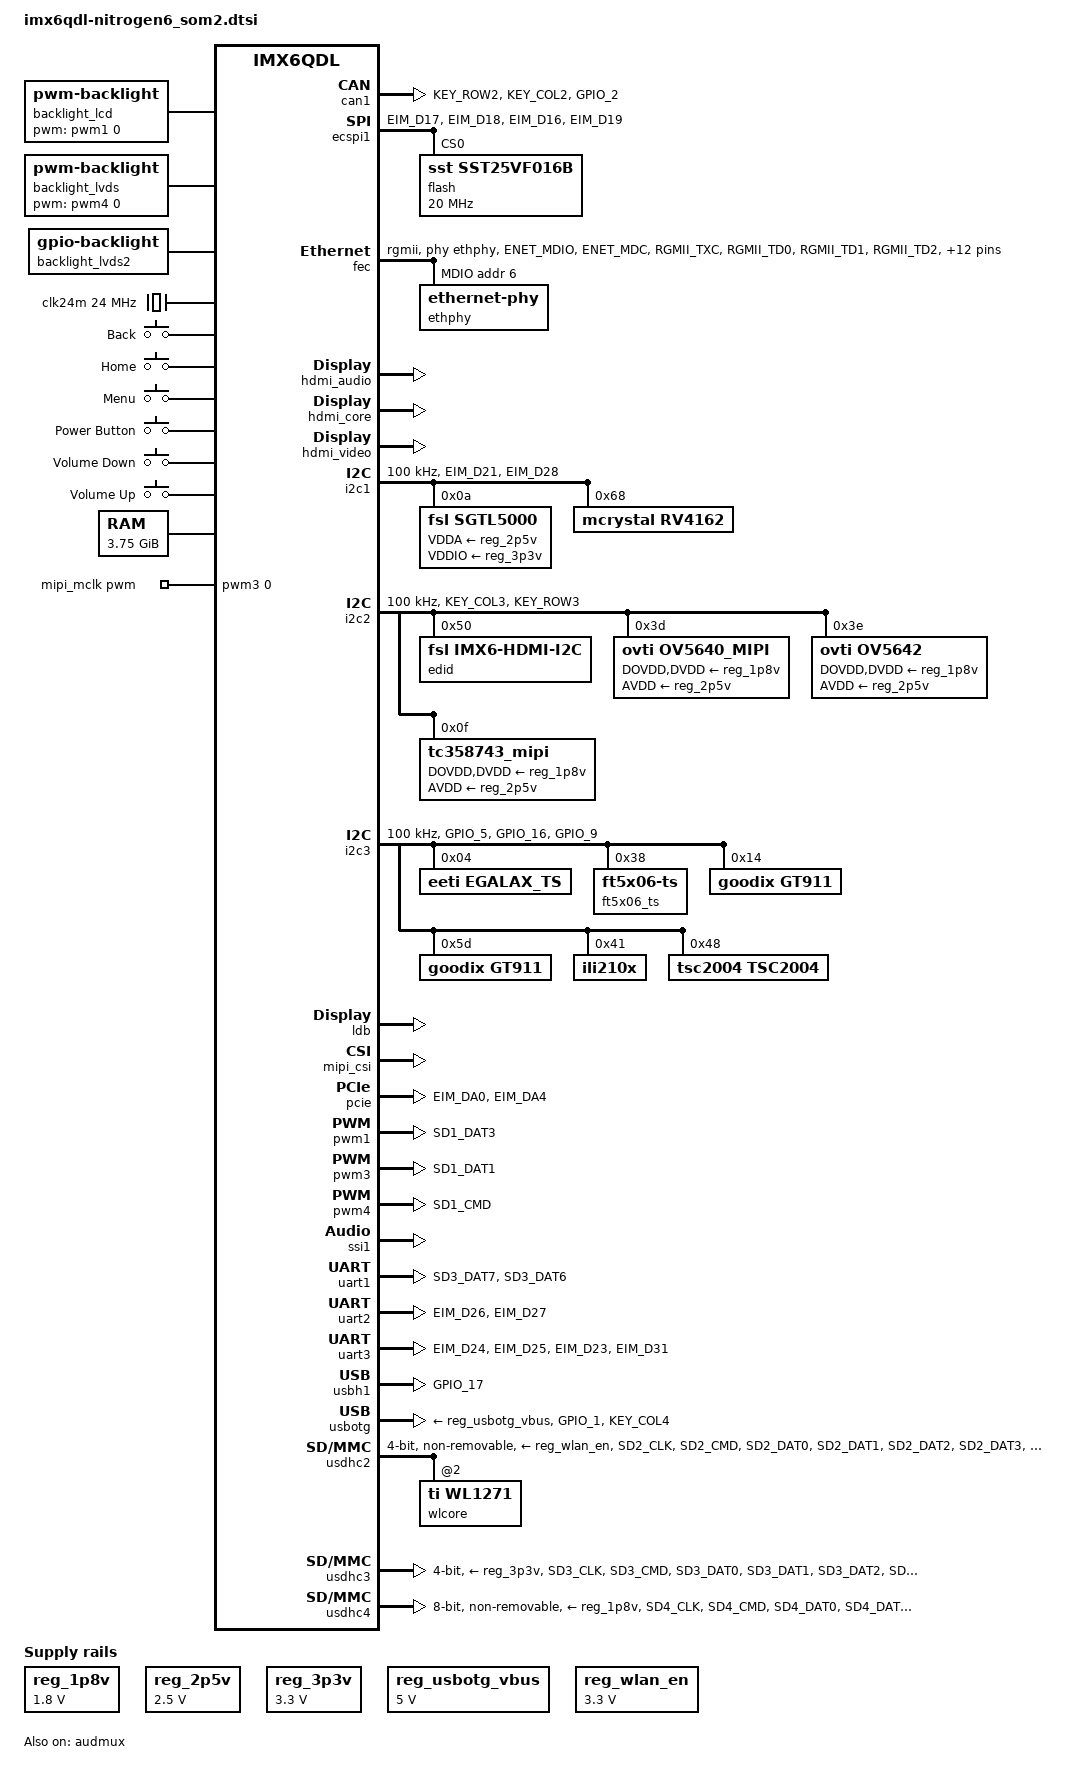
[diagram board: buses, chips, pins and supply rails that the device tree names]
/*
 * Copyright 2015 Boundary Devices, Inc.
 * Copyright 2012 Freescale Semiconductor, Inc.
 * Copyright 2011 Linaro Ltd.
 *
 * The code contained herein is licensed under the GNU General Public
 * License. You may obtain a copy of the GNU General Public License
 * Version 2 or later at the following locations:
 *
 * http://www.opensource.org/licenses/gpl-license.html
 * http://www.gnu.org/copyleft/gpl.html
 */
#include <dt-bindings/gpio/gpio.h>
#include <dt-bindings/input/input.h>

&iomuxc {
	pinctrl-names = "default";
	pinctrl-0 = <&pinctrl_hog>;

	iomuxc_imx6q_nitrogen6_som2: iomuxc-imx6q-nitrogen6-som2grp {
		status = "okay";
	};
};

&iomuxc_imx6q_nitrogen6_som2 {
	pinctrl_audmux: audmuxgrp {
		fsl,pins = <
			MX6QDL_PAD_CSI0_DAT7__AUD3_RXD		0x130b0
			MX6QDL_PAD_CSI0_DAT4__AUD3_TXC		0x130b0
			MX6QDL_PAD_CSI0_DAT5__AUD3_TXD		0x110b0
			MX6QDL_PAD_CSI0_DAT6__AUD3_TXFS		0x130b0
		>;
	};

	pinctrl_backlight_lvds2: backlight-lvds2grp {
		fsl,pins = <
#define GP_BACKLIGHT_LVDS2	<&gpio2 31 GPIO_ACTIVE_HIGH>
			MX6QDL_PAD_EIM_EB3__GPIO2_IO31		0x0b0b0
		>;
	};

	pinctrl_bt_rfkill: bt-rfkillgrp {
		fsl,pins = <
#define GP_BT_RFKILL_RESET	<&gpio6 16 GPIO_ACTIVE_LOW>
			MX6QDL_PAD_NANDF_CS3__GPIO6_IO16	0x030b0
		>;
	};

	pinctrl_ecspi1: ecspi1grp {
		fsl,pins = <
			MX6QDL_PAD_EIM_D17__ECSPI1_MISO		0x100b1
			MX6QDL_PAD_EIM_D18__ECSPI1_MOSI		0x100b1
			MX6QDL_PAD_EIM_D16__ECSPI1_SCLK		0x000b1
#define GP_ECSPI1_NOR_CS	<&gpio3 19 GPIO_ACTIVE_LOW>
			MX6QDL_PAD_EIM_D19__GPIO3_IO19		0x0b0b1
		>;
	};

	pinctrl_enet: enetgrp {
		fsl,pins = <
			MX6QDL_PAD_ENET_MDIO__ENET_MDIO		0x1b0b0
			MX6QDL_PAD_ENET_MDC__ENET_MDC		0x1b0b0
			MX6QDL_PAD_RGMII_TXC__RGMII_TXC		0x100b0
			MX6QDL_PAD_RGMII_TD0__RGMII_TD0		0x100b0
			MX6QDL_PAD_RGMII_TD1__RGMII_TD1		0x100b0
			MX6QDL_PAD_RGMII_TD2__RGMII_TD2		0x100b0
			MX6QDL_PAD_RGMII_TD3__RGMII_TD3		0x100b0
			MX6QDL_PAD_RGMII_TX_CTL__RGMII_TX_CTL	0x100b0
			MX6QDL_PAD_ENET_REF_CLK__ENET_TX_CLK	0x100b0
			MX6QDL_PAD_RGMII_RXC__RGMII_RXC		0x1b0b0
			MX6QDL_PAD_RGMII_RD0__RGMII_RD0		0x1b0b0
			MX6QDL_PAD_RGMII_RD1__RGMII_RD1		0x1b0b0
			MX6QDL_PAD_RGMII_RD2__RGMII_RD2		0x1b0b0
			MX6QDL_PAD_RGMII_RD3__RGMII_RD3		0x1b0b0
			MX6QDL_PAD_RGMII_RX_CTL__RGMII_RX_CTL	0x1b0b0
#define GP_ENET_PHY_RESET	<&gpio1 27 GPIO_ACTIVE_LOW>
			MX6QDL_PAD_ENET_RXD0__GPIO1_IO27	0x030b0
#define GPIRQ_ENET_PHY		<&gpio1 28 IRQ_TYPE_LEVEL_LOW>
			MX6QDL_PAD_ENET_TX_EN__GPIO1_IO28	0x1b0b0
#define GPIRQ_ENET		<&gpio1 6 IRQ_TYPE_LEVEL_HIGH>
			MX6QDL_PAD_GPIO_6__ENET_IRQ		0x000b1
		>;
	};

	pinctrl_flexcan1: flexcan1grp {
		fsl,pins = <
			MX6QDL_PAD_KEY_ROW2__FLEXCAN1_RX	0x1b0b0
			MX6QDL_PAD_KEY_COL2__FLEXCAN1_TX	0x1b0b0
#define GP_FLEXCAN1_STANDBY	<&gpio1 2 GPIO_ACTIVE_HIGH>
			MX6QDL_PAD_GPIO_2__GPIO1_IO02		0x0b0b0
		>;
	};

	pinctrl_gpio_keys: gpio-keysgrp {
		fsl,pins = <
#define GP_GPIOKEY_BACK		<&gpio2 2 GPIO_ACTIVE_LOW>
			MX6QDL_PAD_NANDF_D2__GPIO2_IO02		0x1b0b0
#define GP_GPIOKEY_HOME		<&gpio2 4 GPIO_ACTIVE_LOW>
			MX6QDL_PAD_NANDF_D4__GPIO2_IO04		0x1b0b0
#define GP_GPIOKEY_MENU		<&gpio2 1 GPIO_ACTIVE_LOW>
			MX6QDL_PAD_NANDF_D1__GPIO2_IO01		0x1b0b0
#define GP_GPIOKEY_POWER	<&gpio2 3 GPIO_ACTIVE_LOW>
			MX6QDL_PAD_NANDF_D3__GPIO2_IO03		0x1b0b0
#define GP_GPIOKEY_VOL_DN	<&gpio4 5 GPIO_ACTIVE_LOW>
			MX6QDL_PAD_GPIO_19__GPIO4_IO05		0x1b0b0
#define GP_GPIOKEY_VOL_UP	<&gpio7 13 GPIO_ACTIVE_LOW>
			MX6QDL_PAD_GPIO_18__GPIO7_IO13		0x1b0b0
		>;
	};

	pinctrl_hog: hoggrp {
		fsl,pins = <
#define GP_HOG_TP71	<&gpio2 7 GPIO_ACTIVE_LOW>
			MX6QDL_PAD_NANDF_D7__GPIO2_IO07		0x1b0b0
		>;
	};

	pinctrl_i2c1: i2c1grp {
		fsl,pins = <
			MX6QDL_PAD_EIM_D21__I2C1_SCL		0x4001b8b1
			MX6QDL_PAD_EIM_D28__I2C1_SDA		0x4001b8b1
		>;
	};

	pinctrl_i2c1_rv4162: i2c1-rv4162grp {
		fsl,pins = <
#define GPIRQ_RTC_RV4162	<&gpio6 7 IRQ_TYPE_LEVEL_LOW>
			MX6QDL_PAD_NANDF_CLE__GPIO6_IO07	0x1b0b0
		>;
	};

	pinctrl_i2c1_sgtl5000: i2c1-sgtl5000grp {
		fsl,pins = <
			MX6QDL_PAD_GPIO_0__CCM_CLKO1		0x000b0		/* sys_mclk */
#define GP_SGTL5000_HP_MUTE	<&gpio3 29 GPIO_ACTIVE_LOW>
			MX6QDL_PAD_EIM_D29__GPIO3_IO29		0x130b0		/* amplifier mute, weak pull-down */
#define GP_SGTL5000_HP_DET	<&gpio3 2 GPIO_ACTIVE_LOW>
			MX6QDL_PAD_EIM_DA2__GPIO3_IO02		0x130b0
#define GP_SGTL5000_MIC_DET	<&gpio1 24 GPIO_ACTIVE_LOW>
			MX6QDL_PAD_ENET_RX_ER__GPIO1_IO24	0x130b0
		>;
	};

	pinctrl_i2c2: i2c2grp {
		fsl,pins = <
			MX6QDL_PAD_KEY_COL3__I2C2_SCL		0x4001b8b1
			MX6QDL_PAD_KEY_ROW3__I2C2_SDA		0x4001b8b1
		>;
	};

	pinctrl_i2c2_ov5640_mipi: i2c2-ov5640-mipigrp {
		fsl,pins = <
#define GP_OV5640_MIPI_POWER_DOWN	<&gpio6 9 GPIO_ACTIVE_HIGH>
			MX6QDL_PAD_NANDF_WP_B__GPIO6_IO09	0x0b0b0
#define GP_OV5640_MIPI_RESET		<&gpio2 5 GPIO_ACTIVE_LOW>
			MX6QDL_PAD_NANDF_D5__GPIO2_IO05		0x030b0
		>;
	};

	pinctrl_i2c2_ov5642: i2c2-ov5642grp { /* parallel camera */
		fsl,pins = <
			MX6QDL_PAD_CSI0_DAT12__IPU1_CSI0_DATA12		0x1b0b0
			MX6QDL_PAD_CSI0_DAT13__IPU1_CSI0_DATA13		0x1b0b0
			MX6QDL_PAD_CSI0_DAT14__IPU1_CSI0_DATA14		0x1b0b0
			MX6QDL_PAD_CSI0_DAT15__IPU1_CSI0_DATA15		0x1b0b0
			MX6QDL_PAD_CSI0_DAT16__IPU1_CSI0_DATA16		0x1b0b0
			MX6QDL_PAD_CSI0_DAT17__IPU1_CSI0_DATA17		0x1b0b0
			MX6QDL_PAD_CSI0_DAT18__IPU1_CSI0_DATA18		0x1b0b0
			MX6QDL_PAD_CSI0_DAT19__IPU1_CSI0_DATA19		0x1b0b0
			MX6QDL_PAD_CSI0_DATA_EN__IPU1_CSI0_DATA_EN	0x1b0b0
			MX6QDL_PAD_CSI0_PIXCLK__IPU1_CSI0_PIXCLK	0x1b0b0
			MX6QDL_PAD_CSI0_MCLK__IPU1_CSI0_HSYNC		0x1b0b0
			MX6QDL_PAD_CSI0_VSYNC__IPU1_CSI0_VSYNC		0x1b0b0
			MX6QDL_PAD_GPIO_3__CCM_CLKO2			0x000b0		/* mclk */
#define GP_OV5642_POWER_DOWN	<&gpio1 16 GPIO_ACTIVE_HIGH>
			MX6QDL_PAD_SD1_DAT0__GPIO1_IO16			0x0b0b0
#define GP_OV5642_RESET		<&gpio6 11 GPIO_ACTIVE_LOW>
			MX6QDL_PAD_NANDF_CS0__GPIO6_IO11		0x030b0
		>;
	};

	pinctrl_i2c2_tc358743_mipi: i2c2-tc358743_mipigrp {
		fsl,pins = <
#define GP_TC3587_RESET	<&gpio6 9 GPIO_ACTIVE_LOW>
			MX6QDL_PAD_NANDF_WP_B__GPIO6_IO09	0x030b0
#define GPIRQ_TC3587	<&gpio2 5 IRQ_TYPE_LEVEL_LOW>
			MX6QDL_PAD_NANDF_D5__GPIO2_IO05		0x0b0b0
		>;
	};

	pinctrl_i2c3: i2c3grp {
		fsl,pins = <
			MX6QDL_PAD_GPIO_5__I2C3_SCL		0x4001b8b1
			MX6QDL_PAD_GPIO_16__I2C3_SDA		0x4001b8b1
#define GPIRQ_I2C3_J7	<&gpio1 9 IRQ_TYPE_EDGE_FALLING>
#define GP_I2C3_J7	<&gpio1 9 GPIO_ACTIVE_LOW>
			MX6QDL_PAD_GPIO_9__GPIO1_IO09		0x1b0b0		/* I2C3 J7 interrupt */
		>;
	};

	pinctrl_i2c3_gt911: i2c3_gt911grp {
		fsl,pins = <
#define GPIRQ_GT911	<&gpio1 9 IRQ_TYPE_LEVEL_LOW>
#define GP_GT911_IRQ	<&gpio1 9 GPIO_ACTIVE_LOW>
/*			MX6QDL_PAD_GPIO_9__GPIO1_IO09		0x1b0b0		*/
#define GP_GT911_RESET		<&gpio2 0 GPIO_ACTIVE_LOW>
			MX6QDL_PAD_NANDF_D6__GPIO2_IO06		0x030b0
		>;
	};

	pinctrl_i2c3_tsc2004: i2c3-tsc2004grp {
		fsl,pins = <
			/* tsc2004 interrupt on rgb connector J28 */
#define GPIRQ_TSC2004	<&gpio4 20 IRQ_TYPE_EDGE_FALLING>
#define GP_TSC2004	<&gpio4 20 GPIO_ACTIVE_LOW>
			MX6QDL_PAD_DI0_PIN4__GPIO4_IO20		0x1b0b0
		>;
	};

	pinctrl_lcd: lcdgrp {
		fsl,pins = <
			MX6QDL_PAD_DI0_DISP_CLK__IPU1_DI0_DISP_CLK	0x10
			MX6QDL_PAD_DI0_PIN15__IPU1_DI0_PIN15		0x10
			MX6QDL_PAD_DI0_PIN2__IPU1_DI0_PIN02		0x10
			MX6QDL_PAD_DI0_PIN3__IPU1_DI0_PIN03		0x10
			MX6QDL_PAD_DISP0_DAT0__IPU1_DISP0_DATA00	0x10
			MX6QDL_PAD_DISP0_DAT1__IPU1_DISP0_DATA01	0x10
			MX6QDL_PAD_DISP0_DAT2__IPU1_DISP0_DATA02	0x10
			MX6QDL_PAD_DISP0_DAT3__IPU1_DISP0_DATA03	0x10
			MX6QDL_PAD_DISP0_DAT4__IPU1_DISP0_DATA04	0x10
			MX6QDL_PAD_DISP0_DAT5__IPU1_DISP0_DATA05	0x10
			MX6QDL_PAD_DISP0_DAT6__IPU1_DISP0_DATA06	0x10
			MX6QDL_PAD_DISP0_DAT7__IPU1_DISP0_DATA07	0x10
			MX6QDL_PAD_DISP0_DAT8__IPU1_DISP0_DATA08	0x10
			MX6QDL_PAD_DISP0_DAT9__IPU1_DISP0_DATA09	0x10
			MX6QDL_PAD_DISP0_DAT10__IPU1_DISP0_DATA10	0x10
			MX6QDL_PAD_DISP0_DAT11__IPU1_DISP0_DATA11	0x10
			MX6QDL_PAD_DISP0_DAT12__IPU1_DISP0_DATA12	0x10
			MX6QDL_PAD_DISP0_DAT13__IPU1_DISP0_DATA13	0x10
			MX6QDL_PAD_DISP0_DAT14__IPU1_DISP0_DATA14	0x10
			MX6QDL_PAD_DISP0_DAT15__IPU1_DISP0_DATA15	0x10
			MX6QDL_PAD_DISP0_DAT16__IPU1_DISP0_DATA16	0x10
			MX6QDL_PAD_DISP0_DAT17__IPU1_DISP0_DATA17	0x10
			MX6QDL_PAD_DISP0_DAT18__IPU1_DISP0_DATA18	0x10
			MX6QDL_PAD_DISP0_DAT19__IPU1_DISP0_DATA19	0x10
			MX6QDL_PAD_DISP0_DAT20__IPU1_DISP0_DATA20	0x10
			MX6QDL_PAD_DISP0_DAT21__IPU1_DISP0_DATA21	0x10
			MX6QDL_PAD_DISP0_DAT22__IPU1_DISP0_DATA22	0x10
			MX6QDL_PAD_DISP0_DAT23__IPU1_DISP0_DATA23	0x10
		>;
	};

	pinctrl_pcie: pciegrp {
		fsl,pins = <
#define GP_PCIE_RESET	<&gpio3 0 GPIO_ACTIVE_LOW>
			MX6QDL_PAD_EIM_DA0__GPIO3_IO00		0x030b0
#define GP_PCIE_DISABLE	<&gpio3 4 GPIO_ACTIVE_LOW>
			MX6QDL_PAD_EIM_DA4__GPIO3_IO04		0x030b0
		>;
	};

	pinctrl_pwm1: pwm1grp {
		/* Backlight on RGB connector J28 */
		fsl,pins = <
			MX6QDL_PAD_SD1_DAT3__PWM1_OUT		0x030b1
		>;
	};

	pinctrl_pwm3: pwm3grp {
		/* ov5640 mipi mclk */
		fsl,pins = <
			MX6QDL_PAD_SD1_DAT1__PWM3_OUT		0x030b1
		>;
	};

	pinctrl_pwm4: pwm4grp {
		/* Backlight on LVDS connector: J6 */
		fsl,pins = <
			MX6QDL_PAD_SD1_CMD__PWM4_OUT		0x030b1
		>;
	};

	pinctrl_reg_usbotg_vbus: reg-usbotg-vbusgrp {
		fsl,pins = <
#define GP_REG_USBOTG	<&gpio3 22 GPIO_ACTIVE_HIGH>
			MX6QDL_PAD_EIM_D22__GPIO3_IO22		0x030b0
		>;
	};

	pinctrl_reg_wlan_en: reg-wlan-engrp {
		fsl,pins = <
#define GP_REG_WLAN_EN	<&gpio6 15 GPIO_ACTIVE_HIGH>
			MX6QDL_PAD_NANDF_CS2__GPIO6_IO15	0x030b0
		>;
	};

	pinctrl_uart1: uart1grp {
		fsl,pins = <
			MX6QDL_PAD_SD3_DAT7__UART1_TX_DATA	0x1b0b1
			MX6QDL_PAD_SD3_DAT6__UART1_RX_DATA	0x1b0b1
		>;
	};

	pinctrl_uart2: uart2grp {
		fsl,pins = <
			MX6QDL_PAD_EIM_D26__UART2_TX_DATA	0x1b0b1
			MX6QDL_PAD_EIM_D27__UART2_RX_DATA	0x1b0b1
		>;
	};

	pinctrl_uart3: uart3grp {
		fsl,pins = <
			MX6QDL_PAD_EIM_D24__UART3_TX_DATA	0x1b0b1
			MX6QDL_PAD_EIM_D25__UART3_RX_DATA	0x1b0b1
			MX6QDL_PAD_EIM_D23__UART3_CTS_B		0x1b0b1
			MX6QDL_PAD_EIM_D31__UART3_RTS_B		0x1b0b1
		>;
	};

	pinctrl_usbh1: usbh1grp {
		fsl,pins = <
#define GP_USBH1_HUB_RESET	<&gpio7 12 GPIO_ACTIVE_LOW>
			MX6QDL_PAD_GPIO_17__GPIO7_IO12		0x030b0
		>;
	};

	pinctrl_usbotg: usbotggrp {
		fsl,pins = <
			MX6QDL_PAD_GPIO_1__USB_OTG_ID		0x17059
			MX6QDL_PAD_KEY_COL4__USB_OTG_OC		0x1b0b0
		>;
	};

	pinctrl_usdhc2: usdhc2grp {
		fsl,pins = <
			MX6QDL_PAD_SD2_CLK__SD2_CLK		0x10071
			MX6QDL_PAD_SD2_CMD__SD2_CMD		0x17071
			MX6QDL_PAD_SD2_DAT0__SD2_DATA0		0x17071
			MX6QDL_PAD_SD2_DAT1__SD2_DATA1		0x17071
			MX6QDL_PAD_SD2_DAT2__SD2_DATA2		0x17071
			MX6QDL_PAD_SD2_DAT3__SD2_DATA3		0x17071
			MX6QDL_PAD_SD1_CLK__OSC32K_32K_OUT	0x000b0		/* slow clock */
#define GPIRQ_WL1271	<&gpio6 14 IRQ_TYPE_LEVEL_HIGH>
			MX6QDL_PAD_NANDF_CS1__GPIO6_IO14	0x100b0
		>;
	};

	pinctrl_usdhc2_100mhz: usdhc2grp-100mhz {
		fsl,pins = <
			MX6QDL_PAD_SD2_CMD__SD2_CMD		0x170B9
			MX6QDL_PAD_SD2_CLK__SD2_CLK		0x100B9
			MX6QDL_PAD_SD2_DAT0__SD2_DATA0		0x170B9
			MX6QDL_PAD_SD2_DAT1__SD2_DATA1 		0x170B9
			MX6QDL_PAD_SD2_DAT2__SD2_DATA2 		0x170B9
			MX6QDL_PAD_SD2_DAT3__SD2_DATA3 		0x170B9
		>;
	};

	pinctrl_usdhc2_200mhz: usdhc2grp-200mhz {
		fsl,pins = <
			MX6QDL_PAD_SD2_CMD__SD2_CMD		0x170F9
			MX6QDL_PAD_SD2_CLK__SD2_CLK 		0x100F9
			MX6QDL_PAD_SD2_DAT0__SD2_DATA0		0x170F9
			MX6QDL_PAD_SD2_DAT1__SD2_DATA1 		0x170F9
			MX6QDL_PAD_SD2_DAT2__SD2_DATA2 		0x170F9
			MX6QDL_PAD_SD2_DAT3__SD2_DATA3 		0x170F9
		>;
	};

	pinctrl_usdhc3: usdhc3grp {
		fsl,pins = <
			MX6QDL_PAD_SD3_CLK__SD3_CLK		0x10071
			MX6QDL_PAD_SD3_CMD__SD3_CMD		0x17071
			MX6QDL_PAD_SD3_DAT0__SD3_DATA0		0x17071
			MX6QDL_PAD_SD3_DAT1__SD3_DATA1		0x17071
			MX6QDL_PAD_SD3_DAT2__SD3_DATA2		0x17071
			MX6QDL_PAD_SD3_DAT3__SD3_DATA3		0x17071
#define GP_USDHC3_CD	<&gpio7 0 GPIO_ACTIVE_LOW>
			MX6QDL_PAD_SD3_DAT5__GPIO7_IO00		0x1b0b0
		>;
	};

	pinctrl_usdhc4: usdhc4grp {
		fsl,pins = <
			MX6QDL_PAD_SD4_CLK__SD4_CLK		0x10059
			MX6QDL_PAD_SD4_CMD__SD4_CMD		0x17059
			MX6QDL_PAD_SD4_DAT0__SD4_DATA0		0x17059
			MX6QDL_PAD_SD4_DAT1__SD4_DATA1		0x17059
			MX6QDL_PAD_SD4_DAT2__SD4_DATA2		0x17059
			MX6QDL_PAD_SD4_DAT3__SD4_DATA3		0x17059
			MX6QDL_PAD_SD4_DAT4__SD4_DATA4		0x17059
			MX6QDL_PAD_SD4_DAT5__SD4_DATA5		0x17059
			MX6QDL_PAD_SD4_DAT6__SD4_DATA6		0x17059
			MX6QDL_PAD_SD4_DAT7__SD4_DATA7		0x17059
#define GP_EMMC_RESET	<&gpio2 0 GPIO_ACTIVE_LOW>
			MX6QDL_PAD_NANDF_D0__GPIO2_IO00		0x1b0b0
		>;
	};
};

/ {
	aliases {
		backlight_lcd = &backlight_lcd;
		backlight_lvds = &backlight_lvds;
		backlight_lvds2 = &backlight_lvds2;
		fb_hdmi = &fb_hdmi;
		fb_lcd = &fb_lcd;
		fb_lvds = &fb_lvds;
		fb_lvds2 = &fb_lvds2;
		lcd = &lcd;
		ldb = &ldb;
		mmc0 = &usdhc3;
		mmc1 = &usdhc4;
		mmc2 = &usdhc2;
		mxcfb0 = &fb_lvds;
		mxcfb1 = &fb_lcd;
		mxcfb2 = &fb_lvds2;
		mxcfb3 = &fb_hdmi;
		pwm_lcd = &pwm1;
		pwm_lvds = &pwm4;
		t_lvds = &t_lvds;
		t_lvds2 = &t_lvds2;
	};

	backlight_lcd: backlight_lcd {
		brightness-levels = <0 1 2 3 4 5 6 7 8 9 10>;
		compatible = "pwm-backlight";
		default-brightness-level = <8>;
		display = <&fb_lcd>;
		pwms = <&pwm1 0 5000000>;
	};

	backlight_lvds: backlight_lvds {
		brightness-levels = <0 1 2 3 4 5 6 7 8 9 10>;
		compatible = "pwm-backlight";
		default-brightness-level = <8>;
		display = <&fb_lvds>;
		pwms = <&pwm4 0 5000000>;
	};

	backlight_lvds2: backlight_lvds2 {
		compatible = "gpio-backlight";
		pinctrl-names = "default";
		pinctrl-0 = <&pinctrl_backlight_lvds2>;
		gpios = GP_BACKLIGHT_LVDS2;
		display = <&fb_lvds2>;
		default-on;
	};

	bt_rfkill {
		compatible = "net,rfkill-gpio";
		pinctrl-names = "default";
		pinctrl-0 = <&pinctrl_bt_rfkill>;
		name = "bt_rfkill";
		type = <2>;	/* bluetooth */
		reset-gpios = GP_BT_RFKILL_RESET;
	};

	clocks {
		clk24m: clk24m {
			compatible = "fixed-clock";
			#clock-cells = <0>;
			clock-frequency = <24000000>;
		};
	};

	fb_lvds: fb@0 {
		compatible = "fsl,mxc_sdc_fb";
		disp_dev = "ldb";
		interface_pix_fmt = "RGB666";
		default_bpp = <16>;
		int_clk = <0>;
		late_init = <0>;
		status = "disabled";
	};

	fb_lcd: fb@1 {
		compatible = "fsl,mxc_sdc_fb";
		disp_dev = "lcd";
		interface_pix_fmt = "RGB666";
		default_bpp = <16>;
		int_clk = <0>;
		late_init = <0>;
		status = "disabled";
	};

	fb_lvds2: fb@2 {
		compatible = "fsl,mxc_sdc_fb";
		disp_dev = "ldb";
		interface_pix_fmt = "RGB666";
		default_bpp = <16>;
		int_clk = <0>;
		late_init = <0>;
		status = "disabled";
	};

	fb_hdmi: fb@3 {
		compatible = "fsl,mxc_sdc_fb";
		disp_dev = "hdmi";
		interface_pix_fmt = "RGB24";
		mode_str ="1280x720M@60";
		default_bpp = <32>;
		int_clk = <0>;
		late_init = <0>;
		status = "disabled";
	};

	gpio-keys {
		compatible = "gpio-keys";
		pinctrl-names = "default";
		pinctrl-0 = <&pinctrl_gpio_keys>;

		back {
			label = "Back";
			gpios = GP_GPIOKEY_BACK;
			linux,code = <KEY_BACK>;
		};

		home {
			label = "Home";
			gpios = GP_GPIOKEY_HOME;
			linux,code = <KEY_HOMEPAGE>;
		};

		menu {
			label = "Menu";
			gpios = GP_GPIOKEY_MENU;
			linux,code = <KEY_MENU>;
		};

		power {
			label = "Power Button";
			gpios = GP_GPIOKEY_POWER;
			linux,code = <KEY_POWER>;	/* or KEY_SEARCH */
			gpio-key,wakeup;
		};

		volume-down {
			label = "Volume Down";
			gpios = GP_GPIOKEY_VOL_DN;
			linux,code = <KEY_VOLUMEDOWN>;
		};

		volume-up {
			label = "Volume Up";
			gpios = GP_GPIOKEY_VOL_UP;
			linux,code = <KEY_VOLUMEUP>;
		};
	};

	lcd: lcd@0 {
		compatible = "fsl,lcd";
		ipu_id = <0>;
		disp_id = <0>;
		default_ifmt = "RGB666";
		pinctrl-names = "default";
		pinctrl-0 = <&pinctrl_lcd>;
		status = "okay";
	};

	memory {
		reg = <0x10000000 0xeffffc00>;
	};

	mipi_mclk: mipi_mclk {
		compatible = "pwm-clock";
		#clock-cells = <0>;
		clock-frequency = <22000000>;
		clock-output-names = "mipi_mclk";
		pwms = <&pwm3 0 45>; /* 1 / 45 ns = 22 MHz */
	};

	regulators {
		compatible = "simple-bus";
		#address-cells = <1>;
		#size-cells = <0>;

		reg_1p8v: regulator@0 {
			compatible = "regulator-fixed";
			reg = <0>;
			regulator-name = "1P8V";
			regulator-min-microvolt = <1800000>;
			regulator-max-microvolt = <1800000>;
			regulator-always-on;
		};

		reg_2p5v: regulator@1 {
			compatible = "regulator-fixed";
			reg = <1>;
			regulator-name = "2P5V";
			regulator-min-microvolt = <2500000>;
			regulator-max-microvolt = <2500000>;
			regulator-always-on;
		};

		reg_3p3v: regulator@2 {
			compatible = "regulator-fixed";
			reg = <2>;
			regulator-name = "3P3V";
			regulator-min-microvolt = <3300000>;
			regulator-max-microvolt = <3300000>;
			regulator-always-on;
		};

		reg_usbotg_vbus: regulator@3 {
			compatible = "regulator-fixed";
			reg = <3>;
			pinctrl-names = "default";
			pinctrl-0 = <&pinctrl_reg_usbotg_vbus>;
			regulator-name = "usb_otg_vbus";
			regulator-min-microvolt = <5000000>;
			regulator-max-microvolt = <5000000>;
			gpio = GP_REG_USBOTG;
			enable-active-high;
		};

		reg_wlan_en: regulator@4 {
			compatible = "regulator-fixed";
			reg = <4>;
			pinctrl-names = "default";
			pinctrl-0 = <&pinctrl_reg_wlan_en>;
			regulator-name = "wlan-en";
			regulator-min-microvolt = <3300000>;
			regulator-max-microvolt = <3300000>;
			gpio = GP_REG_WLAN_EN;
			startup-delay-us = <70000>;
			enable-active-high;
		};
	};

	sound {
		compatible = "fsl,imx6q-nitrogen6_som2-sgtl5000",
			     "fsl,imx-audio-sgtl5000";
		model = "imx6q-nitrogen6_som2-sgtl5000";
		ssi-controller = <&ssi1>;
		audio-codec = <&sgtl5000>;
		audio-routing =
			"MIC_IN", "Mic Jack",
			"Mic Jack", "Mic Bias",
			"Headphone Jack", "HP_OUT";
		mux-int-port = <1>;
		mux-ext-port = <3>;
		mute-gpios = GP_SGTL5000_HP_MUTE;
	};

	sound-hdmi {
		compatible = "fsl,imx6q-audio-hdmi",
			     "fsl,imx-audio-hdmi";
		model = "imx-audio-hdmi";
		hdmi-controller = <&hdmi_audio>;
	};

	v4l2_cap_0 {
		compatible = "fsl,imx6q-v4l2-capture";
		ipu_id = <0>;
		csi_id = <0>;
		mclk_source = <0>;
		status = "okay";
	};

	v4l2_cap_1 {
		compatible = "fsl,imx6q-v4l2-capture";
		ipu_id = <0>;
		csi_id = <1>;
		mipi_camera = <1>;
		mclk_source = <0>;
		status = "okay";
	};

	v4l2_cap_2: v4l2_cap_2 {
		compatible = "fsl,imx6q-v4l2-capture";
		ipu_id = <0>;
		csi_id = <1>;
		mclk_source = <0>;
		status = "okay";
	};

	v4l2_cap_3 {
		compatible = "fsl,imx6q-v4l2-capture";
		ipu_id = <0>;
		csi_id = <0>;
		mipi_camera = <1>;
		mclk_source = <0>;
		status = "okay";
	};

	v4l2_out {
		compatible = "fsl,mxc_v4l2_output";
		status = "okay";
	};
};

&audmux {
	pinctrl-names = "default";
	pinctrl-0 = <&pinctrl_audmux>;
	status = "okay";
};

&can1 {
	pinctrl-names = "default";
	pinctrl-0 = <&pinctrl_flexcan1>;
	trx-stby-gpio = GP_FLEXCAN1_STANDBY;
	status = "okay";
};

&ecspi1 {
	pinctrl-names = "default";
	pinctrl-0 = <&pinctrl_ecspi1>;
	fsl,spi-num-chipselects = <1>;
	cs-gpios = GP_ECSPI1_NOR_CS;
	status = "okay";

	flash: m25p80@0 {
		compatible = "sst,sst25vf016b";
		spi-max-frequency = <20000000>;
		reg = <0>;
		#address-cells = <1>;
		#size-cells = <1>;
		mtd@00000000 {
			label = "U-Boot";
			reg = <0x0 0xC0000>;
		};

		mtd@000C0000 {
			label = "env";
			reg = <0xC0000 0x2000>;
		};
		mtd@000C2000 {
			label = "splash";
			reg = <0xC2000 0x13e000>;
		};
	};
};

&fec {
	interrupts-extended = GPIRQ_ENET,
			      <&intc 0 119 IRQ_TYPE_LEVEL_HIGH>;
	phy-handle = <&ethphy>;
	phy-mode = "rgmii";
#if 0
	phy-reset-gpios = GP_ENET_PHY_RESET;
#endif
	pinctrl-names = "default";
	pinctrl-0 = <&pinctrl_enet>;
	status = "okay";

	mdio {
		#address-cells = <0>;
		#size-cells = <1>;

		ethphy: ethernet-phy@6 {
			reg = <6>;
			interrupts-extended = GPIRQ_ENET_PHY;
		};
	};
};

&hdmi_audio {
	status = "okay";
};

&hdmi_core {
	ipu_id = <1>;
	disp_id = <0>;
	status = "okay";
};

&hdmi_video {
	fsl,phy_reg_vlev = <0x0294>;
	fsl,phy_reg_cksymtx = <0x800d>;
	status = "okay";
};

&i2c1 {
	clock-frequency = <100000>;
	pinctrl-names = "default";
	pinctrl-0 = <&pinctrl_i2c1>;
	status = "okay";

	sgtl5000: sgtl5000@0a {
		compatible = "fsl,sgtl5000";
		pinctrl-names = "default";
		pinctrl-0 = <&pinctrl_i2c1_sgtl5000>;
		reg = <0x0a>;
		clocks = <&clks IMX6QDL_CLK_CKO>;
		VDDA-supply = <&reg_2p5v>;
		VDDIO-supply = <&reg_3p3v>;
	};
	rv4162@68 {
		compatible = "mcrystal,rv4162";
		pinctrl-names = "default";
		pinctrl-0 = <&pinctrl_i2c1_rv4162>;
		reg = <0x68>;
		interrupts-extended = GPIRQ_RTC_RV4162;
	};
};

&i2c2 {
	clock-frequency = <100000>;
	pinctrl-names = "default";
	pinctrl-0 = <&pinctrl_i2c2>;
	status = "okay";

	edid@50 {
		compatible = "fsl,imx6-hdmi-i2c";
		reg = <0x50>;
	};

	ov5640_mipi: ov5640_mipi@3d {
		compatible = "ovti,ov5640_mipi";
		reg = <0x3d>;
		pinctrl-names = "default";
		pinctrl-0 = <&pinctrl_i2c2_ov5640_mipi>;
		clocks = <&mipi_mclk>;
		clock-names = "csi_mclk";
		DOVDD-supply = <&reg_1p8v>;
		AVDD-supply = <&reg_2p5v>;
		DVDD-supply = <&reg_1p8v>;
		pwn-gpios = GP_OV5640_MIPI_POWER_DOWN;
		rst-gpios = GP_OV5640_MIPI_RESET;
		ipu_id = <0>;
		csi_id = <1>;
		mclk = <22000000>;
		mclk_source = <0>;
	};

	ov5642: ov5642@3e {
		compatible = "ovti,ov5642";
		reg = <0x3e>;
		pinctrl-names = "default";
		pinctrl-0 = <&pinctrl_i2c2_ov5642>;
		clocks = <&clks IMX6QDL_CLK_CKO2>;
		clock-names = "csi_mclk";
		DOVDD-supply = <&reg_1p8v>;
		AVDD-supply = <&reg_2p5v>;
		DVDD-supply = <&reg_1p8v>;
		pwn-gpios = GP_OV5642_POWER_DOWN;
		rst-gpios = GP_OV5642_RESET;
		ipu_id = <0>;
		csi_id = <0>;
		mclk = <24000000>;
		mclk_source = <0>;
	};

	tc358743_mipi: tc358743_mipi@0f {
		compatible = "tc358743_mipi";
		reg = <0x0f>;
		pinctrl-names = "default";
		pinctrl-0 = <&pinctrl_i2c2_tc358743_mipi>;
		DOVDD-supply = <&reg_1p8v>;
		AVDD-supply = <&reg_2p5v>;
		DVDD-supply = <&reg_1p8v>;
		rst-gpios = GP_TC3587_RESET;
		interrupts-extended = GPIRQ_TC3587;
		ipu_id = <0>;
		csi_id = <0>;
		mclk = <27000000>;
		mclk_source = <0>;
	};
};

&i2c3 {
	clock-frequency = <100000>;
	pinctrl-names = "default";
	pinctrl-0 = <&pinctrl_i2c3>;
	status = "okay";

	egalax_ts@04 {
		compatible = "eeti,egalax_ts";
		reg = <0x04>;
		interrupts-extended = GPIRQ_I2C3_J7;
		wakeup-gpios = GP_I2C3_J7;
	};

	ft5x06_ts@38 {
		compatible = "ft5x06-ts";
		reg = <0x38>;
		interrupts-extended = GPIRQ_I2C3_J7;
		wakeup-gpios = GP_I2C3_J7;
	};

	gt911@14 {
		compatible = "goodix,gt911";
		pinctrl-names = "default";
		pinctrl-0 = <&pinctrl_i2c3_gt911>;
		reg = <0x14>;
		esd-recovery-timeout-ms = <2000>;
		interrupts-extended = GPIRQ_GT911;
		irq-gpios = GP_GT911_IRQ;
		reset-gpios = GP_GT911_RESET;
	};

	gt911@5d {
		compatible = "goodix,gt911";
		pinctrl-names = "default";
		pinctrl-0 = <&pinctrl_i2c3_gt911>;
		reg = <0x5d>;
		esd-recovery-timeout-ms = <2000>;
		interrupts-extended = GPIRQ_GT911;
		irq-gpios = GP_GT911_IRQ;
		reset-gpios = GP_GT911_RESET;
	};

	ili210x@41 {
		compatible = "ili210x";
		reg = <0x41>;
		interrupts-extended = GPIRQ_I2C3_J7;
		wakeup-gpios = GP_I2C3_J7;
	};

	tsc2004: tsc2004@48 {
		compatible = "tsc2004,tsc2004";
		reg = <0x48>;
		pinctrl-names = "default";
		pinctrl-0 = <&pinctrl_i2c3_tsc2004>;
		interrupts-extended = GPIRQ_TSC2004;
		wakeup-gpios = GP_TSC2004;
	};
};

&ldb {
	status = "okay";

	lvds-channel@0 {
		crtc = "ipu1-di1";
		fsl,data-mapping = "spwg";
		fsl,data-width = <18>;
		status = "okay";
		primary;

		display-timings {
			t_lvds: t_lvds_default {
				/* lg1280x800 values may be changed in bootscript */
				clock-frequency = <72000000>;
				hactive = <1280>;
				vactive = <800>;
				hback-porch = <48>;
				hfront-porch = <80>;
				vback-porch = <15>;
				vfront-porch = <2>;
				hsync-len = <32>;
				vsync-len = <6>;
			};
		};
	};

	lvds-channel@1 {
		crtc = "ipu1-di0";
		fsl,data-mapping = "spwg";
		fsl,data-width = <18>;
		status = "okay";

		display-timings {
			t_lvds2: t_lvds2_default {
				/* lg1280x800 values may be changed in bootscript */
				clock-frequency = <72000000>;
				hactive = <1280>;
				vactive = <800>;
				hback-porch = <48>;
				hfront-porch = <80>;
				vback-porch = <15>;
				vfront-porch = <2>;
				hsync-len = <32>;
				vsync-len = <6>;
			};
		};
	};
};

&mipi_csi {
	lanes = <2>;
	status = "okay";
};

&pcie {
	pinctrl-names = "default";
	pinctrl-0 = <&pinctrl_pcie>;
	reset-gpio = GP_PCIE_RESET;
	status = "okay";
};

&pwm1 {
	pinctrl-names = "default";
	pinctrl-0 = <&pinctrl_pwm1>;
	status = "okay";
};

&pwm3 {
	pinctrl-names = "default";
	pinctrl-0 = <&pinctrl_pwm3>;
	status = "okay";
};

&pwm4 {
	pinctrl-names = "default";
	pinctrl-0 = <&pinctrl_pwm4>;
	status = "okay";
};

&ssi1 {
	fsl,mode = "i2s-slave";
	status = "okay";
};

&uart1 {
	pinctrl-names = "default";
	pinctrl-0 = <&pinctrl_uart1>;
	status = "okay";
};

&uart2 {
	pinctrl-names = "default";
	pinctrl-0 = <&pinctrl_uart2>;
	status = "okay";
};

&uart3 {
	pinctrl-names = "default";
	pinctrl-0 = <&pinctrl_uart3>;
	fsl,uart-has-rtscts;
	status = "okay";
};

&usbh1 {
	pinctrl-names = "default";
	pinctrl-0 = <&pinctrl_usbh1>;
	disable-over-current;
	reset-gpios = GP_USBH1_HUB_RESET;
	status = "okay";
};

&usbotg {
	vbus-supply = <&reg_usbotg_vbus>;
	pinctrl-names = "default";
	pinctrl-0 = <&pinctrl_usbotg>;
	disable-over-current;
	status = "okay";
};

&usdhc2 {	/* uSDHC2, TiWi wl1271 */
	pinctrl-names = "default", "state_100mhz", "state_200mhz";
	pinctrl-0 = <&pinctrl_usdhc2>;
	pinctrl-1 = <&pinctrl_usdhc2_100mhz>;
	pinctrl-2 = <&pinctrl_usdhc2_200mhz>;
	bus-width = <4>;
	non-removable;
	vmmc-supply = <&reg_wlan_en>;
	vqmmc-1-8-v;
	cap-power-off-card;
	keep-power-in-suspend;
	status = "okay";

	#address-cells = <1>;
	#size-cells = <0>;
	wlcore: wlcore@2 {
		compatible = "ti,wl1271";
		interrupts-extended = GPIRQ_WL1271;
		reg = <2>;
		ref-clock-frequency = <38400000>;
	};
};

&usdhc3 {
	pinctrl-names = "default";
	pinctrl-0 = <&pinctrl_usdhc3>;
	bus-width = <4>;
	cd-gpios = GP_USDHC3_CD;
	vmmc-supply = <&reg_3p3v>;
	status = "okay";
};

&usdhc4 {
	pinctrl-names = "default";
	pinctrl-0 = <&pinctrl_usdhc4>;
	bus-width = <8>;
	non-removable;
	vqmmc-1-8-v;
	vmmc-supply = <&reg_1p8v>;
	keep-power-in-suspend;
	status = "okay";
};
